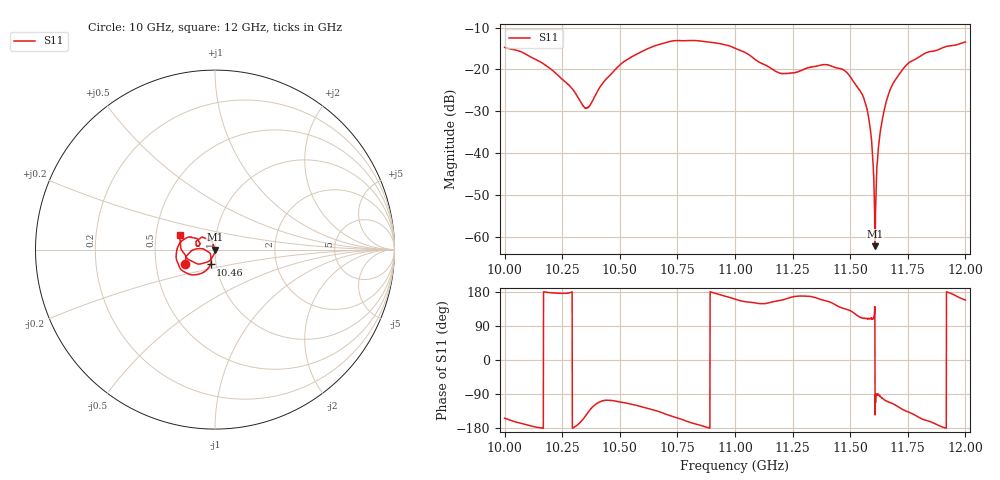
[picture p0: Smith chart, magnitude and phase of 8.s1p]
[Version] 2.0
! Rohde & Schwarz Vector Network Analyzer
! Rohde-Schwarz,ZNL20-2Port,1323001220200009,1.71.1.10-23.02.1.238
! Port Assignments:
! Nominal Port -> Actual Test Port
!  1 -> 1
! Created: GMT 2024-08-27 12:50:31
# Hz S DB R 50
[Number of Ports] 1
! freq[Hz]  S11[mag dB]  S11[ang]
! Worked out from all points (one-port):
!   2001 points, 10 GHz to 12 GHz, reference 50 ohm
!   lowest |S11| = -62.1 dB at 11.61 GHz (marker M1), VSWR 1.00, Z = 49.9 - j0.0449 ohm
!   |S11| at or under -10 dB: start of sweep to end of sweep
!   S11 on the Smith chart (normalised r, x): 10 GHz: 0.71, -0.12; 10.46 GHz: 0.94, -0.16; 12 GHz: 0.66, +0.11
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[Number of Frequencies] 28
[Network Data]
1e10  -14.73 -153.7
1.0153e10  -18.10 -178.8
1.025e10  -22.34 175.9
1.0356e10  -29.21 -143.4
1.0459e10  -21.29 -106.8
1.05e10  -18.93 -110.6
1.0633e10  -14.77 -129.7
1.075e10  -13.11 -153.0
1.1e10  -14.94 160.7
1.1185e10  -20.65 156.1
1.125e10  -20.79 166.4
1.1394e10  -18.83 156.2
1.1468e10  -20.01 136.8
1.15e10  -21.73 130.3
1.155e10  -25.78 111.5
1.1572e10  -29.15 109.4
1.1589e10  -35.09 109.3
1.1594e10  -37.90 107.9
1.1601e10  -44.69 110.3
1.1608e10  -62.11 -145.1
1.1615e10  -44.37 -90.2
1.1622e10  -38.86 -91.2
1.163e10  -35.04 -96.2
1.1655e10  -27.99 -107.8
1.1687e10  -23.24 -115.8
1.175e10  -18.64 -136.6
1.1834e10  -15.93 -160.1
1.2e10  -13.46 158.1
[End]
